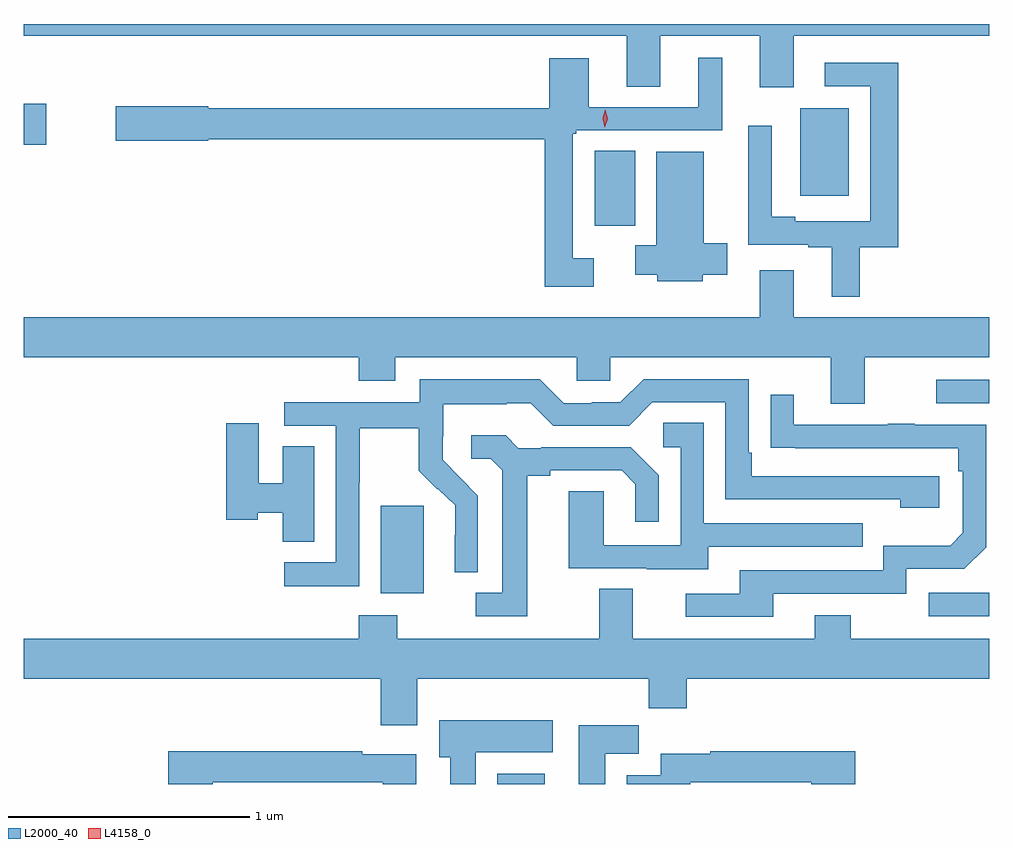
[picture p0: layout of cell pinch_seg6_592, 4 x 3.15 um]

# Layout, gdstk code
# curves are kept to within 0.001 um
import gdstk
lib = gdstk.Library(unit=1e-6, precision=1e-09)
def R(c, l, rs):  # rectangles x0, y0, x1, y1
    for r in rs: c.add(gdstk.rectangle(r[:2], r[2:], *l))
def P(c, l, *ps):  # polygons
    for p in ps: c.add(gdstk.Polygon(p, *l))
L2000_40 = (2000, 40)
L4158_0 = (4158, 0)

pinch_seg6_592 = lib.new_cell('pinch_seg6_592')
R(pinch_seg6_592, L2000_40, [(449.745,994.851,449.941,994.894), (451.533,995.547,451.783,995.643), (449.261,995.642,449.44,996.003), (451.563,996.429,451.783,996.525), (450.149,997.165,450.316,997.475), (451.001,997.289,451.201,997.651), (447.783,997.499,447.877,997.669)])
P(pinch_seg6_592, L2000_40, [(450.973,997.952),(451.783,997.952),(451.783,998),(447.783,998),(447.783,997.952),(450.281,997.952),(450.281,997.741),(450.421,997.741),(450.421,997.952),(450.833,997.952),(450.833,997.737),(450.973,997.737)],
  [(450.145,997.03),(450.057,997.03),(450.057,997.545),(450.072,997.545),(450.072,997.56),(450.676,997.56),(450.676,997.861),(450.578,997.861),(450.578,997.656),(450.124,997.656),(450.124,997.858),(449.96,997.858),(449.96,997.651),(448.548,997.651),(448.548,997.659),(448.164,997.659),(448.164,997.517),(448.548,997.517),(448.548,997.522),(449.941,997.522),(449.941,996.911),(450.145,996.911)],
  [(451.247,997.074),(451.406,997.074),(451.406,997.839),(451.101,997.839),(451.101,997.743),(451.29,997.743),(451.29,997.182),(450.979,997.182),(450.979,997.202),(450.882,997.202),(450.882,997.579),(450.785,997.579),(450.785,997.086),(451.034,997.086),(451.034,997.074),(451.13,997.074),(451.13,996.869),(451.247,996.869)],
  [(450.597,996.962),(450.697,996.962),(450.697,997.092),(450.601,997.092),(450.601,997.471),(450.404,997.471),(450.404,997.084),(450.317,997.084),(450.317,996.962),(450.408,996.962),(450.408,996.935),(450.597,996.935)],
  [(451.267,996.62),(451.783,996.62),(451.783,996.784),(450.973,996.784),(450.973,996.979),(450.833,996.979),(450.833,996.784),(447.783,996.784),(447.783,996.62),(449.171,996.62),(449.171,996.521),(449.323,996.521),(449.323,996.62),(450.075,996.62),(450.075,996.522),(450.213,996.522),(450.213,996.62),(451.127,996.62),(451.127,996.426),(451.267,996.426)],
  [(449.172,996.1),(449.175,996.1),(449.175,996.324),(449.419,996.324),(449.419,996.149),(449.496,996.072),(449.499,996.075),(449.57,996.005),(449.57,995.882),(449.568,995.882),(449.568,995.728),(449.664,995.728),(449.664,996.046),(449.518,996.194),(449.518,996.291),(449.52,996.291),(449.52,996.425),(449.783,996.425),(449.783,996.429),(449.883,996.429),(449.976,996.336),(450.291,996.336),(450.387,996.432),(450.69,996.432),(450.69,996.03),(451.415,996.03),(451.415,995.996),(451.576,995.996),(451.576,996.126),(450.799,996.126),(450.799,996.223),(450.786,996.223),(450.786,996.528),(450.351,996.528),(450.255,996.432),(450.137,996.432),(450.137,996.429),(450.021,996.429),(449.921,996.529),(449.424,996.529),(449.424,996.432),(448.863,996.432),(448.863,996.336),(449.076,996.336),(449.076,995.769),(448.863,995.769),(448.863,995.671),(449.172,995.671)],
  [(450.889,995.64),(451.44,995.64),(451.44,995.742),(451.68,995.742),(451.77,995.832),(451.77,996.339),(451.475,996.339),(451.475,996.344),(451.363,996.344),(451.363,996.339),(450.973,996.339),(450.973,996.463),(450.877,996.463),(450.877,996.244),(451.654,996.243),(451.654,996.146),(451.674,996.146),(451.674,995.892),(451.621,995.839),(451.344,995.839),(451.344,995.736),(450.749,995.736),(450.749,995.64),(450.525,995.64),(450.525,995.544),(450.889,995.544)],
  [(450.619,995.835),(451.259,995.835),(451.259,995.931),(450.6,995.931),(450.6,996.347),(450.432,996.347),(450.432,996.246),(450.504,996.246),(450.504,995.841),(450.186,995.841),(450.186,996.065),(450.041,996.065),(450.041,995.745),(450.365,995.745),(450.365,995.741),(450.619,995.741)],
  [(448.987,996.251),(448.856,996.251),(448.856,996.097),(448.756,996.097),(448.756,996.346),(448.622,996.346),(448.622,995.945),(448.752,995.945),(448.752,995.975),(448.856,995.975),(448.856,995.854),(448.987,995.854)],
  [(449.869,996.128),(449.965,996.128),(449.965,996.15),(450.26,996.15),(450.317,996.093),(450.317,995.937),(450.414,995.937),(450.414,996.13),(450.298,996.246),(449.926,996.246),(449.926,996.243),(449.832,996.243),(449.78,996.295),(449.637,996.295),(449.637,996.198),(449.718,996.198),(449.765,996.151),(449.765,995.643),(449.655,995.643),(449.655,995.547),(449.869,995.547)],
  [(449.413,995.288),(450.373,995.288),(450.373,995.164),(450.53,995.164),(450.53,995.288),(451.783,995.288),(451.783,995.452),(451.209,995.452),(451.209,995.551),(451.061,995.551),(451.061,995.452),(450.307,995.452),(450.307,995.66),(450.167,995.66),(450.167,995.452),(449.331,995.452),(449.331,995.551),(449.171,995.551),(449.171,995.452),(447.783,995.452),(447.783,995.288),(449.261,995.288),(449.261,995.094),(449.413,995.094)],
  [(449.656,994.982),(449.974,994.982),(449.974,995.116),(449.504,995.116),(449.504,994.962),(449.549,994.962),(449.549,994.851),(449.656,994.851)],
  [(450.193,994.976),(450.332,994.976),(450.332,995.095),(450.083,995.095),(450.083,994.851),(450.193,994.851)],
  [(448.565,994.858),(449.27,994.858),(449.27,994.851),(449.41,994.851),(449.41,994.974),(449.186,994.974),(449.186,994.987),(448.382,994.987),(448.382,994.851),(448.565,994.851)],
  [(450.545,994.858),(451.046,994.858),(451.046,994.851),(451.229,994.851),(451.229,994.987),(450.628,994.987),(450.628,994.976),(450.422,994.976),(450.422,994.888),(450.281,994.888),(450.281,994.851),(450.545,994.851)])
P(pinch_seg6_592, L4158_0, [(450.191,997.573),(450.191,997.573),(450.182,997.609),(450.192,997.644),(450.193,997.645),(450.193,997.644),(450.202,997.608),(450.191,997.573)])

lib.write_gds('pinch_seg6_592.gds')
